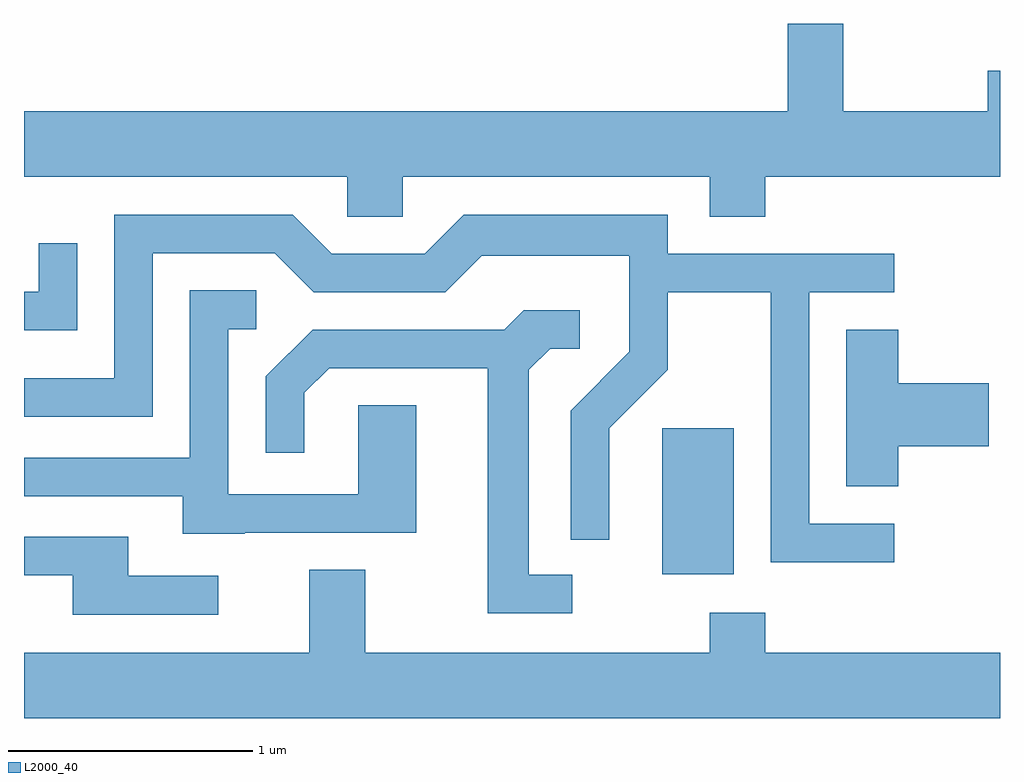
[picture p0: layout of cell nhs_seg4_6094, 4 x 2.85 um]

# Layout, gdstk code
import gdstk
lib = gdstk.Library(unit=1e-6, precision=1e-09)
def R(c, l, rs):  # rectangles x0, y0, x1, y1
    for r in rs: c.add(gdstk.rectangle(r[:2], r[2:], *l))
def P(c, l, *ps):  # polygons
    for p in ps: c.add(gdstk.Polygon(p, *l))
L2000_40 = (2000, 40)

nhs_seg4_6094 = lib.new_cell('nhs_seg4_6094')
R(nhs_seg4_6094, L2000_40, [(366.226,1339.726,366.519,1340.324)])
P(nhs_seg4_6094, L2000_40, [(365.164,1341.356),(366.421,1341.356),(366.421,1341.191),(366.649,1341.191),(366.649,1341.356),(367.611,1341.356),(367.611,1341.789),(367.561,1341.789),(367.561,1341.624),(366.969,1341.624),(366.969,1341.982),(366.741,1341.982),(366.741,1341.624),(363.611,1341.624),(363.611,1341.356),(364.936,1341.356),(364.936,1341.191),(365.164,1341.191)],
  [(367.178,1339.934),(366.829,1339.934),(366.829,1340.881),(367.178,1340.881),(367.178,1341.039),(366.249,1341.039),(366.249,1341.199),(365.414,1341.199),(365.254,1341.039),(364.872,1341.039),(364.712,1341.199),(363.981,1341.199),(363.981,1340.529),(363.611,1340.529),(363.611,1340.371),(364.139,1340.371),(364.139,1341.041),(364.639,1341.041),(364.799,1340.881),(365.337,1340.881),(365.487,1341.031),(366.091,1341.031),(366.091,1340.637),(365.851,1340.397),(365.851,1339.868),(366.009,1339.868),(366.009,1340.324),(366.249,1340.564),(366.249,1340.881),(366.671,1340.881),(366.671,1339.776),(367.178,1339.776)],
  [(363.829,1341.083),(363.671,1341.083),(363.671,1340.884),(363.611,1340.884),(363.611,1340.726),(363.829,1340.726)],
  [(364.515,1339.896),(365.219,1339.896),(365.219,1340.419),(364.981,1340.419),(364.981,1340.054),(364.449,1340.054),(364.449,1340.731),(364.563,1340.731),(364.563,1340.889),(364.291,1340.889),(364.291,1340.204),(363.611,1340.204),(363.611,1340.046),(364.261,1340.046),(364.261,1339.891),(364.515,1339.891)],
  [(365.858,1339.724),(365.679,1339.724),(365.679,1340.564),(365.767,1340.651),(365.888,1340.651),(365.888,1340.809),(365.659,1340.809),(365.579,1340.729),(364.794,1340.729),(364.601,1340.537),(364.601,1340.223),(364.759,1340.223),(364.759,1340.469),(364.862,1340.571),(365.511,1340.571),(365.511,1339.566),(365.858,1339.566)],
  [(367.194,1340.251),(367.564,1340.251),(367.564,1340.509),(367.194,1340.509),(367.194,1340.729),(366.981,1340.729),(366.981,1340.086),(367.194,1340.086)],
  [(364.408,1339.719),(364.039,1339.719),(364.039,1339.879),(363.611,1339.879),(363.611,1339.721),(363.811,1339.721),(363.811,1339.561),(364.408,1339.561)],
  [(367.611,1339.404),(366.649,1339.404),(366.649,1339.569),(366.421,1339.569),(366.421,1339.404),(365.009,1339.404),(365.009,1339.744),(364.781,1339.744),(364.781,1339.404),(363.611,1339.404),(363.611,1339.136),(367.611,1339.136)])

lib.write_gds('nhs_seg4_6094.gds')
